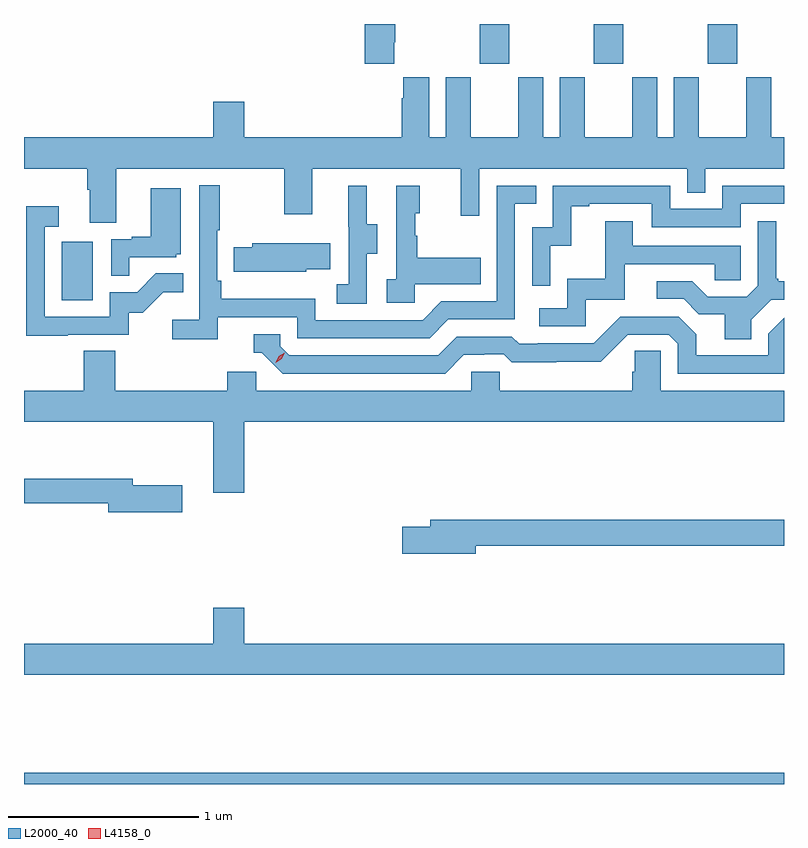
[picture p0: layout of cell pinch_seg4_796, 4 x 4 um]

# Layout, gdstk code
import gdstk
lib = gdstk.Library(unit=1e-6, precision=1e-09)
def R(c, l, rs):  # rectangles x0, y0, x1, y1
    for r in rs: c.add(gdstk.rectangle(r[:2], r[2:], *l))
def A(c, l, x, y, w, h, nx, ny, dx, dy):  # array of equal rectangles
    R(c, l, [(x+i*dx, y+j*dy, x+i*dx+w, y+j*dy+h) for i in range(nx) for j in range(ny)])
def P(c, l, *ps):  # polygons
    for p in ps: c.add(gdstk.Polygon(p, *l))
L2000_40 = (2000, 40)
L4158_0 = (4158, 0)

pinch_seg4_796 = lib.new_cell('pinch_seg4_796')
A(pinch_seg4_796, L2000_40, 825.751, 812.025, 0.155, 0.208, 3, 1, 0.6, 0)
R(pinch_seg4_796, L2000_40, [(823.352,808.233,827.352,808.292), (823.55,810.78,823.714,811.087)])
P(pinch_seg4_796, L2000_40, [(825.301,812.137),(825.306,812.137),(825.306,812.233),(825.146,812.233),(825.146,812.025),(825.301,812.025)],
  [(827.153,811.954),(827.153,811.636),(826.903,811.636),(826.903,811.954),(826.772,811.954),(826.772,811.636),(826.684,811.636),(826.684,811.954),(826.553,811.954),(826.553,811.636),(826.303,811.636),(826.303,811.954),(826.172,811.954),(826.172,811.636),(826.084,811.636),(826.084,811.954),(825.953,811.954),(825.953,811.636),(825.703,811.636),(825.703,811.954),(825.572,811.954),(825.572,811.636),(825.484,811.636),(825.484,811.954),(825.347,811.954),(825.347,811.841),(825.341,811.841),(825.341,811.636),(824.512,811.636),(824.512,811.825),(824.348,811.825),(824.348,811.636),(823.352,811.636),(823.352,811.472),(823.685,811.472),(823.685,811.36),(823.697,811.36),(823.697,811.186),(823.837,811.186),(823.837,811.472),(824.722,811.472),(824.722,811.233),(824.869,811.233),(824.869,811.472),(825.65,811.472),(825.65,811.224),(825.747,811.224),(825.747,811.472),(826.842,811.472),(826.842,811.345),(826.938,811.345),(826.938,811.472),(827.352,811.472),(827.352,811.636),(827.284,811.636),(827.284,811.954)],
  [(824.372,810.69),(824.79,810.69),(824.79,810.579),(825.487,810.579),(825.586,810.678),(825.936,810.678),(825.936,811.287),(826.049,811.287),(826.049,811.383),(825.84,811.383),(825.84,810.774),(825.549,810.774),(825.45,810.675),(824.886,810.675),(824.886,810.787),(824.389,810.787),(824.389,810.883),(824.37,810.883),(824.37,811.147),(824.383,811.147),(824.383,811.384),(824.274,811.384),(824.274,810.676),(824.133,810.676),(824.133,810.574),(824.372,810.574)],
  [(826.122,811.067),(826.232,811.067),(826.232,811.275),(826.327,811.275),(826.327,811.287),(826.656,811.287),(826.656,811.164),(827.124,811.164),(827.124,811.287),(827.352,811.287),(827.352,811.383),(827.028,811.383),(827.028,811.26),(826.752,811.26),(826.752,811.383),(826.134,811.383),(826.134,811.164),(826.026,811.164),(826.026,810.855),(826.122,810.855)],
  [(825.156,811.024),(825.211,811.024),(825.211,811.179),(825.157,811.179),(825.157,811.381),(825.059,811.381),(825.059,811.167),(825.06,811.167),(825.06,810.863),(824.997,810.863),(824.997,810.76),(825.156,810.76)],
  [(825.408,810.863),(825.755,810.863),(825.755,811.003),(825.421,811.003),(825.421,811.118),(825.411,811.118),(825.411,811.236),(825.436,811.236),(825.436,811.381),(825.312,811.381),(825.312,810.89),(825.261,810.89),(825.261,810.765),(825.408,810.765)],
  [(823.907,811.005),(824.154,811.005),(824.154,811.02),(824.176,811.02),(824.176,811.369),(824.018,811.369),(824.018,811.114),(823.919,811.114),(823.919,811.101),(823.812,811.101),(823.812,810.907),(823.907,810.907)],
  [(823.583,810.597),(823.902,810.597),(823.902,810.714),(823.978,810.714),(824.085,810.821),(824.189,810.821),(824.189,810.92),(824.045,810.92),(823.947,810.822),(823.803,810.822),(823.803,810.693),(823.461,810.693),(823.461,811.167),(823.534,811.167),(823.534,811.273),(823.365,811.273),(823.365,810.592),(823.583,810.592)],
  [(826.308,810.783),(826.513,810.783),(826.513,810.969),(826.987,810.969),(826.987,810.885),(827.124,810.885),(827.124,811.065),(826.555,811.065),(826.555,811.195),(826.411,811.195),(826.411,810.892),(826.212,810.892),(826.212,810.738),(826.065,810.738),(826.065,810.642),(826.308,810.642)],
  [(827.179,810.676),(827.286,810.783),(827.352,810.783),(827.352,810.88),(827.323,810.88),(827.323,810.892),(827.311,810.892),(827.311,811.195),(827.214,811.195),(827.214,810.855),(827.157,810.798),(826.951,810.798),(826.87,810.879),(826.683,810.879),(826.683,810.786),(826.824,810.786),(826.904,810.706),(827.039,810.706),(827.039,810.574),(827.179,810.574)],
  [(824.838,810.941),(824.963,810.941),(824.963,811.078),(824.553,811.078),(824.553,811.059),(824.455,811.059),(824.455,810.929),(824.838,810.929)],
  [(825.667,810.492),(825.774,810.492),(825.774,810.495),(825.877,810.495),(825.919,810.453),(826.152,810.453),(826.152,810.455),(826.388,810.455),(826.53,810.597),(826.746,810.597),(826.794,810.549),(826.794,810.393),(827.352,810.393),(827.352,810.687),(827.268,810.603),(827.268,810.489),(826.891,810.489),(826.891,810.599),(826.797,810.693),(826.491,810.693),(826.35,810.552),(826.057,810.552),(826.057,810.549),(825.958,810.549),(825.919,810.588),(825.63,810.588),(825.531,810.489),(824.748,810.489),(824.7,810.537),(824.7,810.6),(824.561,810.6),(824.561,810.504),(824.604,810.504),(824.715,810.393),(825.568,810.393)],
  [(824.512,810.14),(827.352,810.14),(827.352,810.304),(826.704,810.304),(826.704,810.512),(826.567,810.512),(826.567,810.402),(826.553,810.402),(826.553,810.304),(825.855,810.304),(825.855,810.402),(825.705,810.402),(825.705,810.304),(824.574,810.304),(824.574,810.402),(824.423,810.402),(824.423,810.304),(823.832,810.304),(823.832,810.512),(823.667,810.512),(823.667,810.304),(823.352,810.304),(823.352,810.14),(824.348,810.14),(824.348,809.766),(824.512,809.766)],
  [(824.185,809.805),(823.924,809.805),(823.924,809.839),(823.352,809.839),(823.352,809.71),(823.796,809.71),(823.796,809.663),(824.185,809.663)],
  [(825.73,809.488),(827.352,809.488),(827.352,809.624),(825.491,809.624),(825.491,809.588),(825.342,809.588),(825.342,809.446),(825.73,809.446)],
  [(827.352,808.972),(824.512,808.972),(824.512,809.161),(824.348,809.161),(824.348,808.972),(823.352,808.972),(823.352,808.808),(827.352,808.808)])
P(pinch_seg4_796, L4158_0, [(824.677,810.451),(824.677,810.451),(824.693,810.484),(824.724,810.502),(824.724,810.502),(824.724,810.502),(824.708,810.47),(824.677,810.451)])

lib.write_gds('pinch_seg4_796.gds')
